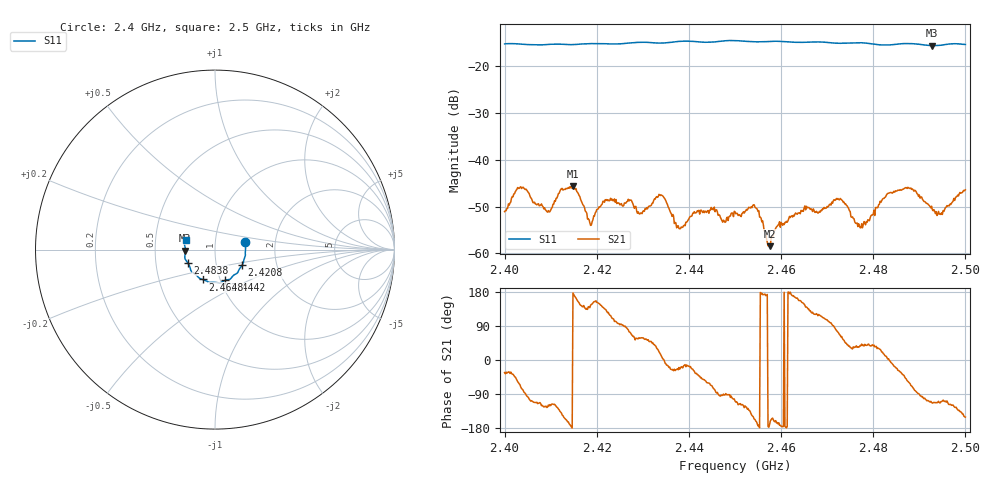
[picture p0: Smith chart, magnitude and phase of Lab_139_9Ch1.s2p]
# Hz S RI R 50
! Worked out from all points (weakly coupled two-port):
!   601 points, 2.4 GHz to 2.5 GHz, reference 50 ohm
!   highest |S21| = -45.67 dB at 2.4148 GHz (marker M1); lowest = -58.4 dB at 2.4575 GHz (marker M2)
!   lowest |S11| = -15.6 dB at 2.4928 GHz (marker M3), VSWR 1.40, Z = 35.8 - j0.372 ohm
!   |S11| at or under -10 dB: start of sweep to end of sweep
!   S12 and S22 are empty: the file has one direction only
!   S11 on the Smith chart (normalised r, x): 2.4 GHz: 1.40, +0.12; 2.4208 GHz: 1.33, -0.24; 2.4442 GHz: 1.05, -0.37; 2.4648 GHz: 0.83, -0.28; 2.4838 GHz: 0.73, -0.11; 2.5 GHz: 0.72, +0.08
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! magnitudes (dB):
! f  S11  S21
! 2.4 GHz  -15.2  -51.1
! 2.4032 GHz  -15.2  -46.1
! 2.4095 GHz  -15.3  -50.8
! 2.4148 GHz  -15.4  -45.7
! 2.4167 GHz  -15.3  -48.9
! 2.4185 GHz  -15.2  -53.5
! 2.4208 GHz  -15.2  -49.9
! 2.4293 GHz  -14.9  -51.6
! 2.4333 GHz  -15.1  -47.9
! 2.4378 GHz  -14.7  -54.7
! 2.4442 GHz  -14.9  -50.8
! 2.45 GHz  -14.5  -51.1
! 2.4543 GHz  -14.8  -50.1
! 2.4575 GHz  -14.7  -58.4
! 2.4648 GHz  -14.9  -51.0
! 2.4667 GHz  -14.8  -50.6
! 2.4728 GHz  -15.1  -48.3
! 2.4772 GHz  -15.0  -54.5
! 2.4833 GHz  -15.5  -47.1
! 2.4838 GHz  -15.4  -46.9
! 2.4928 GHz  -15.6  -50.7
! 2.5 GHz  -15.3  -46.4
